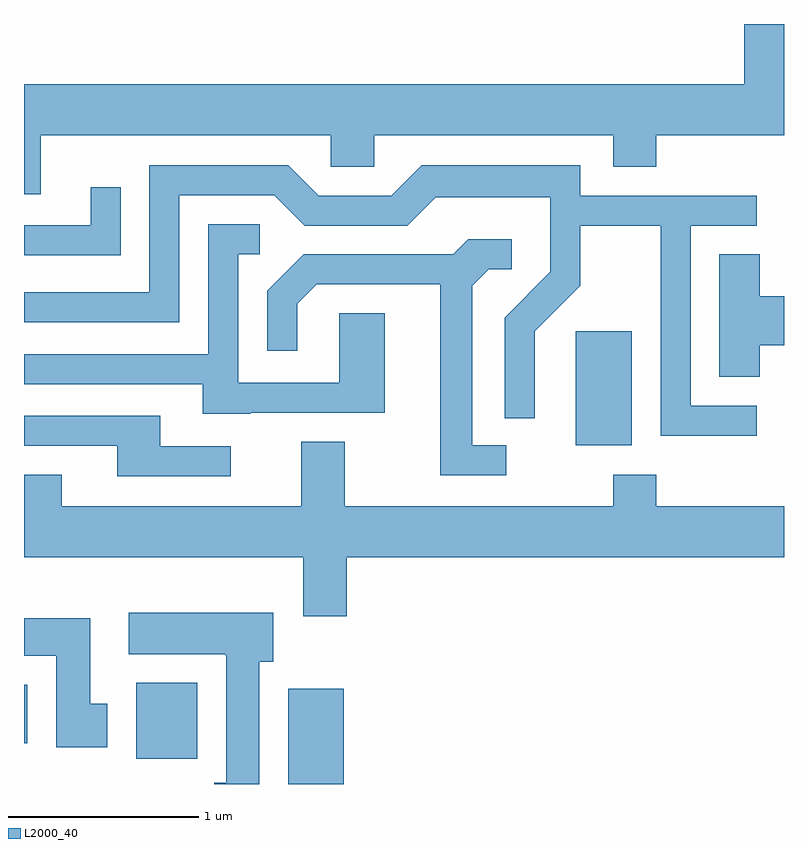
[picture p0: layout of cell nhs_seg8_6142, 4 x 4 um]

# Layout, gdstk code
import gdstk
lib = gdstk.Library(unit=1e-6, precision=1e-09)
def R(c, l, rs):  # rectangles x0, y0, x1, y1
    for r in rs: c.add(gdstk.rectangle(r[:2], r[2:], *l))
def P(c, l, *ps):  # polygons
    for p in ps: c.add(gdstk.Polygon(p, *l))
L2000_40 = (2000, 40)

nhs_seg8_6142 = lib.new_cell('nhs_seg8_6142')
R(nhs_seg8_6142, L2000_40, [(371.001,1826.342,371.294,1826.844), (370.201,1826.476,370.524,1826.874), (369.611,1826.556,369.629,1826.864), (372.516,1828.126,372.809,1828.724)])
P(nhs_seg8_6142, L2000_40, [(369.699,1829.756),(371.226,1829.756),(371.226,1829.591),(371.454,1829.591),(371.454,1829.756),(372.711,1829.756),(372.711,1829.591),(372.939,1829.591),(372.939,1829.756),(373.611,1829.756),(373.611,1830.342),(373.401,1830.342),(373.401,1830.024),(369.611,1830.024),(369.611,1829.446),(369.699,1829.446)],
  [(373.468,1828.334),(373.119,1828.334),(373.119,1829.281),(373.468,1829.281),(373.468,1829.439),(372.539,1829.439),(372.539,1829.599),(371.704,1829.599),(371.544,1829.439),(371.162,1829.439),(371.002,1829.599),(370.271,1829.599),(370.271,1828.929),(369.611,1828.929),(369.611,1828.771),(370.429,1828.771),(370.429,1829.441),(370.929,1829.441),(371.089,1829.281),(371.627,1829.281),(371.777,1829.431),(372.381,1829.431),(372.381,1829.037),(372.141,1828.797),(372.141,1828.268),(372.299,1828.268),(372.299,1828.724),(372.539,1828.964),(372.539,1829.281),(372.961,1829.281),(372.961,1828.176),(373.468,1828.176)],
  [(370.119,1829.483),(369.961,1829.483),(369.961,1829.284),(369.611,1829.284),(369.611,1829.126),(370.119,1829.126)],
  [(370.805,1828.296),(371.509,1828.296),(371.509,1828.819),(371.271,1828.819),(371.271,1828.454),(370.739,1828.454),(370.739,1829.131),(370.853,1829.131),(370.853,1829.289),(370.581,1829.289),(370.581,1828.604),(369.611,1828.604),(369.611,1828.446),(370.551,1828.446),(370.551,1828.291),(370.805,1828.291)],
  [(372.148,1828.124),(371.969,1828.124),(371.969,1828.964),(372.057,1829.051),(372.178,1829.051),(372.178,1829.209),(371.949,1829.209),(371.869,1829.129),(371.084,1829.129),(370.891,1828.937),(370.891,1828.623),(371.049,1828.623),(371.049,1828.869),(371.152,1828.971),(371.801,1828.971),(371.801,1827.966),(372.148,1827.966)],
  [(373.484,1828.651),(373.611,1828.651),(373.611,1828.909),(373.484,1828.909),(373.484,1829.129),(373.271,1829.129),(373.271,1828.486),(373.484,1828.486)],
  [(370.698,1828.119),(370.329,1828.119),(370.329,1828.279),(369.611,1828.279),(369.611,1828.121),(370.101,1828.121),(370.101,1827.961),(370.698,1827.961)],
  [(371.309,1827.536),(373.611,1827.536),(373.611,1827.804),(372.939,1827.804),(372.939,1827.969),(372.711,1827.969),(372.711,1827.804),(371.299,1827.804),(371.299,1828.144),(371.071,1828.144),(371.071,1827.804),(369.809,1827.804),(369.809,1827.969),(369.611,1827.969),(369.611,1827.536),(371.081,1827.536),(371.081,1827.226),(371.309,1827.226)],
  [(370.849,1826.986),(370.924,1826.986),(370.924,1827.244),(370.161,1827.244),(370.161,1827.026),(370.67,1827.026),(370.67,1827.02),(370.676,1827.02),(370.676,1826.349),(370.613,1826.349),(370.613,1826.342),(370.849,1826.342)],
  [(370.049,1826.764),(369.959,1826.764),(369.959,1827.214),(369.611,1827.214),(369.611,1827.016),(369.781,1827.016),(369.781,1826.536),(370.049,1826.536)])

lib.write_gds('nhs_seg8_6142.gds')
